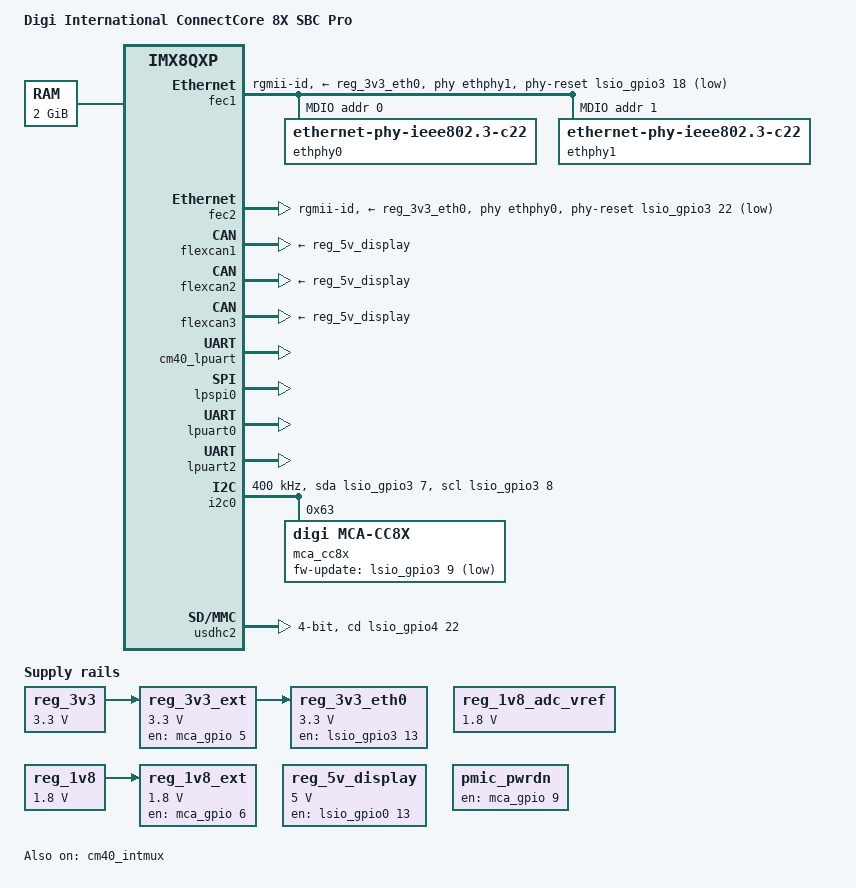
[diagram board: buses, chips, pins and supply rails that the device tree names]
/*
 * Copyright 2018-2020 Digi International Inc.
 *
 * Permission to use, copy, modify, and/or distribute this software for any
 * purpose with or without fee is hereby granted, provided that the above
 * copyright notice and this permission notice appear in all copies.
 * THE SOFTWARE IS PROVIDED "AS IS" AND THE AUTHOR DISCLAIMS ALL WARRANTIES
 * WITH REGARD TO THIS SOFTWARE INCLUDING ALL IMPLIED WARRANTIES OF
 * MERCHANTABILITY AND FITNESS. IN NO EVENT SHALL THE AUTHOR BE LIABLE FOR
 * ANY SPECIAL, DIRECT, INDIRECT, OR CONSEQUENTIAL DAMAGES OR ANY DAMAGES
 * WHATSOEVER RESULTING FROM LOSS OF USE, DATA OR PROFITS, WHETHER IN AN
 * ACTION OF CONTRACT, NEGLIGENCE OR OTHER TORTIOUS ACTION, ARISING OUT OF
 * OR IN CONNECTION WITH THE USE OR PERFORMANCE OF THIS SOFTWARE.
 */

/dts-v1/;

/* i.MX8QXP CPU */
#include "../freescale/imx8qxp.dtsi"
/* Digi ConnectCore 8X */
//#include "ccimx8x.dtsi"
/* Digi ConnectCore 8X SBC Pro */
//#include "ccimx8x-sbc-pro.dtsi"

/ {
	model = "Digi International ConnectCore 8X SBC Pro";
	compatible = "digi,ccimx8x-sbc-pro", "digi,ccimx8x", "fsl,imx8qxp";
	digi,machine,name = "ccimx8x-sbc-pro-can";

	chosen {
		stdout-path = &lpuart2;
	};

        memory@80000000 {
                device_type = "memory";
                reg = <0x00000000 0x80000000 0 0x80000000>;
        };

        reserved-memory {
                vdev0vring0: vdev0vring0@90000000 {
                        compatible = "shared-dma-pool";
                        reg = <0 0x90000000 0 0x8000>;
                        no-map;
                };

                vdev0vring1: vdev0vring1@90008000 {
                        compatible = "shared-dma-pool";
                        reg = <0 0x90008000 0 0x8000>;
                        no-map;
                };

                vdevbuffer: vdevbuffer {
                        compatible = "shared-dma-pool";
                        reg = <0 0x90010000 0 0x40000>;
                        no-map;
                };
        };

        imx8x_cm4: imx8x_cm4@0 {
                compatible = "fsl,imx8qxp-cm4";
                mbox-names = "tx", "rx", "txdb", "rxdb";
                mboxes = <&lsio_mu5 0 1
                          &lsio_mu5 1 1
                          &lsio_mu5 2 1
                          &lsio_mu5 3 1>;
                mub-partition = <3>;
                memory-region = <&vdev0vring0>, <&vdev0vring1>, <&vdevbuffer>;
                core-index = <0>;
                core-id = <IMX_SC_R_M4_0_PID0>;
                power-domains = <&pd IMX_SC_R_M4_0_PID0>,
                                <&pd IMX_SC_R_M4_0_MU_1A>;
                status = "okay";
        };

	regulators {
		compatible = "simple-bus";
		#address-cells = <1>;
		#size-cells = <0>;

		reg_3v3: regulator-som@1 {
			compatible = "regulator-fixed";
			reg = <1>;
			regulator-name = "3v3";
			regulator-min-microvolt = <3300000>;
			regulator-max-microvolt = <3300000>;
		};

		reg_1v8_adc_vref: regulator-som@2 {
			compatible = "regulator-fixed";
			reg = <2>;
			regulator-name = "1v8_adc_vref";
			regulator-min-microvolt = <1800000>;
			regulator-max-microvolt = <1800000>;
		};

		reg_1v8: regulator-som@3 {
			compatible = "regulator-fixed";
			reg = <3>;
			regulator-name = "1v8";
			regulator-min-microvolt = <1800000>;
			regulator-max-microvolt = <1800000>;
		};

		reg_3v3_ext: regulator@1 {
			compatible = "regulator-fixed";
			reg = <1>;
			regulator-name = "3v3_ext";
			regulator-min-microvolt = <3300000>;
			regulator-max-microvolt = <3300000>;
			gpio = <&mca_gpio 5 GPIO_ACTIVE_HIGH>;
			enable-active-high;
			vin-supply = <&reg_3v3>;
			regulator-boot-on;
		};

		reg_1v8_ext: regulator@2 {
			compatible = "regulator-fixed";
			reg = <2>;
			regulator-name = "1v8_ext";
			regulator-min-microvolt = <1800000>;
			regulator-max-microvolt = <1800000>;
			gpio = <&mca_gpio 6 GPIO_ACTIVE_HIGH>;
			enable-active-high;
			vin-supply = <&reg_1v8>;
			regulator-boot-on;
		};

		reg_3v3_eth0: regulator@3 {
			pinctrl-names = "default", "sleep";
			pinctrl-0 = <&pinctrl_reg_3v3_eth0>;
			pinctrl-1 = <&pinctrl_reg_3v3_eth0_sleep>;
			compatible = "regulator-fixed";
			reg = <3>;
			regulator-name = "3v3_eth0";
			regulator-min-microvolt = <3300000>;
			regulator-max-microvolt = <3300000>;
			gpio = <&lsio_gpio3 13 GPIO_ACTIVE_HIGH>;
			enable-active-high;
			startup-delay-us = <10000>;
			vin-supply = <&reg_3v3_ext>;
		};

		reg_5v_display: regulator@4 {
			compatible = "regulator-fixed";
			reg = <4>;
			pinctrl-names = "default", "sleep";
			pinctrl-0 = <&pinctrl_reg_5v_display>;
			pinctrl-1 = <&pinctrl_reg_5v_display_sleep>;
			regulator-name = "5v_display";
			regulator-min-microvolt = <5000000>;
			regulator-max-microvolt = <5000000>;
			gpio = <&lsio_gpio0 13 GPIO_ACTIVE_HIGH>;
			enable-active-high;
		};

		/* Dummy regulator to keep PMIC powered via asserted MCA_IO9 */
		pmic_pwrdn: regulator@9 {
			compatible = "regulator-fixed";
			reg = <9>;
			regulator-name = "pmic-pwrdn";
			gpio = <&mca_gpio 9 GPIO_ACTIVE_HIGH>;
			enable-active-high;
			regulator-always-on;
		};
	};

	pf8x00-sc {
		compatible = "digi,pf8x00-sc";

		vcc_main1_reg: SW1 {
			regulator-min-microvolt = <1000000>;
			regulator-max-microvolt = <1000000>;
			regulator-boot-on;
			regulator-always-on;
			regulator-state-mem {
				regulator-on-in-suspend;
				regulator-suspend-microvolt = <800000>;
			};
		};

		vcc_main2_reg: SW2 {
			regulator-min-microvolt = <1000000>;
			regulator-max-microvolt = <1000000>;
			regulator-boot-on;
			regulator-always-on;
			regulator-state-mem {
				regulator-on-in-suspend;
				regulator-suspend-microvolt = <800000>;
			};
		};

		vcc_gpu_reg: SW3 {
			regulator-min-microvolt = <1100000>;
			regulator-max-microvolt = <1100000>;
			regulator-boot-on;
			regulator-always-on;
			regulator-state-mem {
				regulator-off-in-suspend;
			};
		};

		vcc_cpu_reg: SW4 {
			regulator-min-microvolt = <1100000>;
			regulator-max-microvolt = <1100000>;
			regulator-boot-on;
			regulator-always-on;
			regulator-state-mem {
				regulator-off-in-suspend;
			};
		};

		vcc_ddr_io_reg: SW5 {
			regulator-min-microvolt = <1100000>;
			regulator-max-microvolt = <1100000>;
			regulator-boot-on;
			regulator-always-on;
			regulator-state-mem {
				regulator-on-in-suspend;
				regulator-suspend-microvolt = <1068750>;
			};
		};

		vcc_1v8_reg: SW6 {
			regulator-min-microvolt = <1800000>;
			regulator-max-microvolt = <1800000>;
			regulator-boot-on;
			regulator-always-on;
		};

		vcc_3v3_reg: SW7 {
			regulator-min-microvolt = <3300000>;
			regulator-max-microvolt = <3300000>;
			regulator-boot-on;
			regulator-always-on;
			regulator-state-mem {
				regulator-off-in-suspend;
			};
		};

		vcc_scu_1v8_reg: LDO1 {
			regulator-min-microvolt = <1800000>;
			regulator-max-microvolt = <1800000>;
			regulator-boot-on;
			regulator-always-on;
		};

		vdd_emmc_reg: LDO2 {
			regulator-min-microvolt = <1800000>;
			regulator-max-microvolt = <1800000>;
			regulator-boot-on;
			regulator-always-on;
			regulator-state-mem {
				regulator-off-in-suspend;
			};
		};

		ldo3_reg: LDO3 {
			regulator-min-microvolt = <1500000>;
			regulator-max-microvolt = <5000000>;
		};

		ld4_reg: LDO4 {
			regulator-min-microvolt = <1500000>;
			regulator-max-microvolt = <5000000>;
		};
	};

};

&rpmsg{
	status = "disabled";
};

&fec1 {
	pinctrl-names = "default", "sleep";
	pinctrl-0 = <&pinctrl_fec_mdio>,
		    <&pinctrl_fec1_gpio>,
		    <&pinctrl_fec1>;
	pinctrl-1 = <&pinctrl_fec1_gpio_sleep>;
	phy-mode = "rgmii-id";
	phy-handle = <&ethphy1>;
	digi,mdio-lt-supply = <&reg_1v8_ext>;
	phy-supply = <&reg_3v3_eth0>;
	phy-reset-gpios = <&lsio_gpio3 18 GPIO_ACTIVE_LOW>;
	phy-reset-duration = <1>;
	digi,phy-reset-in-suspend;
	fsl,magic-packet;
	status = "okay";

	mdio {
		#address-cells = <1>;
		#size-cells = <0>;

		ethphy0: ethernet-phy@0 {
			compatible = "ethernet-phy-ieee802.3-c22";
			reg = <0>;
			at803x,eee-disabled;
			at803x,vddio-1p8v;
		};

		ethphy1: ethernet-phy@1 {
			compatible = "ethernet-phy-ieee802.3-c22";
			reg = <1>;
			at803x,eee-disabled;
			at803x,vddio-1p8v;
		};
	};
};

&fec2 {
	pinctrl-names = "default", "sleep";
	pinctrl-0 = <&pinctrl_fec2_gpio>,
		    <&pinctrl_fec2>;
	pinctrl-1 = <&pinctrl_fec2_gpio_sleep>;
	phy-mode = "rgmii-id";
	phy-handle = <&ethphy0>;
	digi,mdio-lt-supply = <&reg_1v8_ext>;
	phy-supply = <&reg_3v3_eth0>;
	phy-reset-gpios = <&lsio_gpio3 22 GPIO_ACTIVE_LOW>;
	phy-reset-duration = <1>;
	digi,phy-reset-in-suspend;
	fsl,magic-packet;
	status = "okay";
};

/*
 * CAN0
 * Conflicts with LPUART0 RTS/CTS lines.
 * Before enabling the port you need to configure
 * lpuart0 node as 2 wires.
 */
&flexcan1 {
	pinctrl-names = "default";
	pinctrl-0 = <&pinctrl_flexcan1>;
	xceiver-supply = <&reg_5v_display>;
	status = "okay";
};

/* CAN1 on expansion header */
&flexcan2 {
	pinctrl-names = "default";
	pinctrl-0 = <&pinctrl_flexcan2>;
	xceiver-supply = <&reg_5v_display>;
	stby-gpios = <&lsio_gpio1 0 GPIO_ACTIVE_HIGH>;
	status = "okay";
};

/*
 * CAN2 on expansion header.
 * Conflicts with LPUART3 RX/TX lines.
 * Requires signal CAN/RS485# (GPIO3_IO23) to be driven high
 */
&flexcan3 {
	pinctrl-names = "default";
	pinctrl-0 = <&pinctrl_flexcan3>,
		    <&pinctrl_flexcan3_lpuart3_gpios>;
	xceiver-supply = <&reg_5v_display>;
	stby-gpios = <&lsio_gpio1 2 GPIO_ACTIVE_HIGH>;
	pinctrl-assert-gpios = <&lsio_gpio3 23 GPIO_ACTIVE_HIGH>;
	status = "okay";
};

&cm40_intmux {
	status = "okay";
};

&cm40_lpuart {
        pinctrl-names = "default";
        pinctrl-0 = <&pinctrl_cm40_lpuart>;
        status = "okay";
};

/* LPSPI0 on expansion header */
&lpspi0 {
	#address-cells = <1>;
	#size-cells = <0>;
	pinctrl-names = "default";
	pinctrl-0 = <&pinctrl_lpspi0>;
	status = "okay";
};

/* LPUART0 on expansion header */
&lpuart0 {
	pinctrl-names = "default";
	pinctrl-0 = <&pinctrl_lpuart0_2wires>;
	status = "okay";
};

/* Console */
&lpuart2 {
	pinctrl-names = "default";
	pinctrl-0 = <&pinctrl_lpuart2>;
	status = "okay";
};

/*
 * LPUART3 on expansion header.
 * Conflicts with CAN2.
 */
&lpuart3 {
	pinctrl-names = "default";
	pinctrl-0 = <&pinctrl_lpuart3>,
		    <&pinctrl_flexcan3_lpuart3_gpios>;
	pinctrl-assert-gpios = <&lsio_gpio3 23 GPIO_ACTIVE_LOW>;
	/* Enable RS485 mode */
	linux,rs485-enabled-at-boot-time;
	digi,rts-gpio = <&lsio_gpio3 24 GPIO_ACTIVE_HIGH>;
	status = "disabled";
};


/* I2C0 connected to MCA and crypto chip */
&i2c0 {
	#address-cells = <1>;
	#size-cells = <0>;
	clock-frequency = <400000>;
	pinctrl-names = "default", "gpio";
	digi,hold-time-ns = <8000>;
	digi,buffer-time-us = <35>;
	pinctrl-0 = <&pinctrl_lpi2c0>;
	pinctrl-1 = <&pinctrl_lpi2c0_gpio>;
	scl-gpios = <&lsio_gpio3 8 GPIO_ACTIVE_HIGH>;
	sda-gpios = <&lsio_gpio3 7 GPIO_ACTIVE_HIGH>;
	status = "okay";

	mca_cc8x: mca@63 {
		compatible = "digi,mca-cc8x";
		reg = <0x63>;
		interrupt-parent = <&gic>;
		interrupts = <GIC_SPI 177 IRQ_TYPE_LEVEL_HIGH>;
		interrupt-controller;
		#interrupt-cells = <2>;
		fw-update-gpio = <&lsio_gpio3 9 GPIO_ACTIVE_LOW>;
		pinctrl-names = "default";
		pinctrl-0 = <&pinctrl_mca_cc8x>;

		mca_adc: adc {
			compatible = "digi,mca-cc8x-adc";
			digi,adc-vref = <3000000>;
		};

		mca_gpio: gpio {
			compatible = "digi,mca-cc8x-gpio";
			gpio-controller;
			#gpio-cells = <2>;

			interrupt-parent = <&mca_cc8x>;
			interrupt-controller;
			#interrupt-cells = <2>;

			/* Disable all mca GPIOs as power off wake up sources */
			pwroff-wakeup-capable-ios = <>;
		};

		pwrkey {
			compatible = "digi,mca-cc8x-pwrkey";
			digi,key-power;
			digi,key-power-up;
			digi,key-sleep;
			digi,debounce-ms = <100>;
			digi,pwroff-delay-sec = <6>;
			digi,pwroff-guard-sec = <30>;
		};

		rtc {
			compatible = "digi,mca-cc8x-rtc";
		};

		wdt {
			compatible = "digi,mca-cc8x-wdt";
			digi,full-reset;
		};

		pwms {
			compatible = "digi,mca-pwm";
			#address-cells = <1>;
			#size-cells = <0>;

			mca_pwm0: pwm@0 {
				reg = <0>;
				pwm-channels = <6>;
				#pwm-cells = <3>;
			};

			mca_pwm1: pwm@1 {
				reg = <1>;
				pwm-channels = <2>;
				#pwm-cells = <3>;
			};

			mca_pwm2: pwm@2 {
				reg = <2>;
				pwm-channels = <2>;
				#pwm-cells = <3>;
			};
		};

		mca_tamper: tamper {
			compatible = "digi,mca-cc8x-tamper";
		};

		mca_uart: uart {
			compatible = "digi,mca-cc8x-uart";
			#address-cells = <1>;
			#size-cells = <0>;
			status = "disabled";

			mca_uart0: serial@0x900 {
				reg = <0x900>;
				index = <0>;
				status = "disabled";
			};

			mca_uart1: serial@0x920 {
				reg = <0x920>;
				index = <1>;
				status = "disabled";
			};

			mca_uart2: serial@0x940 {
				reg = <0x940>;
				index = <2>;
				status = "disabled";
			};
		};

		mca_keypad: keypad {
			compatible = "digi,mca-keypad";
			status = "disabled";
		};

		mca_led: led {
			compatible = "digi,mca-led";
			#address-cells = <1>;
			#size-cells = <0>;
			status = "okay";

			led@0 {
				reg = <0>;
				label = "power:green";
				io = <13>;
				linux,default-trigger = "default-on";
				retain-state-suspended;
			};
		};
	};
};

/* Micro SD card */
&usdhc2 {
	pinctrl-names = "default", "state_100mhz", "state_200mhz";
	pinctrl-0 = <&pinctrl_usdhc2>, <&pinctrl_usdhc2_gpio>;
	pinctrl-1 = <&pinctrl_usdhc2_100mhz>, <&pinctrl_usdhc2_gpio>;
	pinctrl-2 = <&pinctrl_usdhc2_200mhz>, <&pinctrl_usdhc2_gpio>;
	bus-width = <4>;
	no-1-8-v;
	cd-gpios = <&lsio_gpio4 22 GPIO_ACTIVE_HIGH>;
	status = "okay";
};

/* IOMUX */
&iomuxc {
	pinctrl-names = "default";
	pinctrl-0 = <&pinctrl_expansion>;

	/* Expansion Connector */
	pinctrl_expansion: expansiongrp {
		fsl,pins = <
			/*
			 * Comment the pads you wish to use on any
			 * device driver, and uncomment the ones you
			 * want to use as GPIO (requires disabling the
			 * driver that manages them).
			 */
			/* GPIO4_20 */
			IMX8QXP_USDHC1_VSELECT_LSIO_GPIO4_IO20		0x06000020
			/* GPIO4_21 */
			IMX8QXP_USDHC1_WP_LSIO_GPIO4_IO21			0x06000020
			/* SPI0_IRQ_N */
			IMX8QXP_SPI2_SDO_LSIO_GPIO1_IO01			0x06000020
			/* EXP_I2C_IRQ_N */
			IMX8QXP_QSPI0A_SS1_B_LSIO_GPIO3_IO15		0x06000020
			/* EXP_I2C_GPIO */
			IMX8QXP_QSPI0A_SS0_B_LSIO_GPIO3_IO14		0x06000020
			/* GPIO4_19 */
			IMX8QXP_USDHC1_RESET_B_LSIO_GPIO4_IO19		0x06000020
			/* GPIO0_12 */
			IMX8QXP_SPDIF0_EXT_CLK_LSIO_GPIO0_IO12		0x06000020
			/* GPIO5_09 */
			IMX8QXP_ENET0_REFCLK_125M_25M_LSIO_GPIO5_IO09	0x06000020

			/* Remove the pads you wish to use as ADCs */
			/* ADC_IN0 */
	//		IMX8QXP_ADC_IN0_LSIO_GPIO1_IO10			0x06000020
			/* ADC_IN1 */
			IMX8QXP_ADC_IN1_LSIO_GPIO1_IO09			0x06000020
			/* M40_UART_RX */
			IMX8QXP_ADC_IN2_LSIO_GPIO1_IO12			0x06000020
			/* M40_UART_TX */
			IMX8QXP_ADC_IN3_LSIO_GPIO1_IO11			0x06000020
			/* ADC_IN4 */
			IMX8QXP_ADC_IN4_LSIO_GPIO1_IO14			0x06000020
			/* ADC_IN5 */
			IMX8QXP_ADC_IN5_LSIO_GPIO1_IO13			0x06000020
		>;
	};

	/* Uncomment the pads you wish to use as ADCs */
	pinctrl_adc0: adc0grp {
		fsl,pins = <
			/* ADC_IN0 */
			IMX8QXP_ADC_IN0_ADMA_ADC_IN0		0xc0000060
	//		/* ADC_IN1 */
	//		IMX8QXP_ADC_IN1_ADMA_ADC_IN1		0xc0000060
	//		/* M40_UART_RX */
	//		IMX8QXP_ADC_IN2_ADMA_ADC_IN2		0xc0000060
	//		/* M40_UART_TX */
	//		IMX8QXP_ADC_IN3_ADMA_ADC_IN3		0xc0000060
	//		/* ADC_IN4 */
	//		IMX8QXP_ADC_IN4_ADMA_ADC_IN4		0xc0000060
	//		/* ADC_IN5 */
	//		IMX8QXP_ADC_IN5_ADMA_ADC_IN5		0xc0000060
		>;
	};

	pinctrl_lpspi0: lpspi0grp {
		fsl,pins = <
			IMX8QXP_SPI0_SCK_ADMA_SPI0_SCK	0x0600004c
			IMX8QXP_SPI0_SDO_ADMA_SPI0_SDO	0x0600004c
			IMX8QXP_SPI0_SDI_ADMA_SPI0_SDI	0x0600004c
			IMX8QXP_SPI0_CS0_ADMA_SPI0_CS0	0x0600004c
			IMX8QXP_SPI0_CS1_ADMA_SPI0_CS1	0x0600004c
		>;
	};

	pinctrl_lpuart0_2wires: lpuart0grp_2wires {
		fsl,pins = <
			IMX8QXP_UART0_RX_ADMA_UART0_RX		0x06000020
			IMX8QXP_UART0_TX_ADMA_UART0_TX		0x06000020
		>;
	};

	pinctrl_lpuart0_4wires: lpuart0grp_4wires {
		fsl,pins = <
			IMX8QXP_UART0_RX_ADMA_UART0_RX		0x06000020
			IMX8QXP_UART0_TX_ADMA_UART0_TX		0x06000020
			IMX8QXP_FLEXCAN0_RX_ADMA_UART0_RTS_B	0x06000020
			IMX8QXP_FLEXCAN0_TX_ADMA_UART0_CTS_B	0x06000020
		>;
	};

	pinctrl_lpuart2: lpuart2grp {
		fsl,pins = <
			IMX8QXP_UART2_TX_ADMA_UART2_TX	0x06000020
			IMX8QXP_UART2_RX_ADMA_UART2_RX	0x06000020
		>;
	};

	pinctrl_lpuart3: lpuart3grp {
		fsl,pins = <
			IMX8QXP_FLEXCAN2_TX_ADMA_UART3_TX		0x06000020
			IMX8QXP_FLEXCAN2_RX_ADMA_UART3_RX		0x06000020
			/* RS485 RE#/DE line */
			IMX8QXP_QSPI0B_SS1_B_LSIO_GPIO3_IO24	0x06000040
		>;
	};

	pinctrl_flexcan1: flexcan0grp {
		fsl,pins = <
			IMX8QXP_FLEXCAN0_TX_ADMA_FLEXCAN0_TX		0x21
			IMX8QXP_FLEXCAN0_RX_ADMA_FLEXCAN0_RX		0x21
		>;
	};

	pinctrl_flexcan2: flexcan1grp {
		fsl,pins = <
			IMX8QXP_FLEXCAN1_TX_ADMA_FLEXCAN1_TX		0x21
			IMX8QXP_FLEXCAN1_RX_ADMA_FLEXCAN1_RX		0x21
			IMX8QXP_SPI2_CS0_LSIO_GPIO1_IO00                   0x06000020
		>;
	};

	pinctrl_flexcan3: flexcan2grp {
		fsl,pins = <
			IMX8QXP_FLEXCAN2_TX_ADMA_FLEXCAN2_TX		0x21
			IMX8QXP_FLEXCAN2_RX_ADMA_FLEXCAN2_RX		0x21
			IMX8QXP_SPI2_SDI_LSIO_GPIO1_IO02                   0x06000020
		>;
	};

	pinctrl_flexcan3_lpuart3_gpios: flexcan2lpuart3gpios-grp {
		fsl,pins = <
			IMX8QXP_QSPI0B_SS0_B_LSIO_GPIO3_IO23 0x06000060
		>;
	};

	/* FEC shared MDIO bus */
	pinctrl_fec_mdio: fecmdiogrp {
		fsl,pins = <
			IMX8QXP_ENET0_MDC_CONN_ENET0_MDC		0x06000020
			IMX8QXP_ENET0_MDIO_CONN_ENET0_MDIO		0x06000020
		>;
	};

	pinctrl_fec1_gpio: fec1gpiogrp {
		fsl,pins = <
			/* PHY reset */
			IMX8QXP_QSPI0B_DATA0_LSIO_GPIO3_IO18	0x06000021
			/* PHY interrupt */
			IMX8QXP_MIPI_DSI0_GPIO0_01_LSIO_GPIO1_IO28	0x06000021
		>;
	};

	pinctrl_fec1_gpio_sleep: fec1gpiosleepgrp {
		fsl,pins = <
			/* PHY reset */
			IMX8QXP_QSPI0B_DATA0_LSIO_GPIO3_IO18	0x06000041
		>;
	};

	pinctrl_fec1: fec1grp {
		fsl,pins = <
			/*
			 * The SCFW of B0 defaults ENET0 domains to 2.5V:
			 * - VDD_ENET0_1P8_2P5_3P3
			 * - VDD_ENET0_VSELECT_1P8_2P5_3P3
			 * Turn the domains back to 1.8/3.3V detector
			 */
			IMX8QXP_COMP_CTL_GPIO_1V8_3V3_ENET_ENETB0_PAD	0x000014a0
			IMX8QXP_COMP_CTL_GPIO_1V8_3V3_ENET_ENETB1_PAD	0x000014a0

			IMX8QXP_ENET0_RGMII_TX_CTL_CONN_ENET0_RGMII_TX_CTL	0x00000061
			IMX8QXP_ENET0_RGMII_TXC_CONN_ENET0_RGMII_TXC	0x00000061
			IMX8QXP_ENET0_RGMII_TXD0_CONN_ENET0_RGMII_TXD0	0x00000061
			IMX8QXP_ENET0_RGMII_TXD1_CONN_ENET0_RGMII_TXD1	0x00000061
			IMX8QXP_ENET0_RGMII_TXD2_CONN_ENET0_RGMII_TXD2	0x00000061
			IMX8QXP_ENET0_RGMII_TXD3_CONN_ENET0_RGMII_TXD3	0x00000061
			IMX8QXP_ENET0_RGMII_RXC_CONN_ENET0_RGMII_RXC	0x00000061
			IMX8QXP_ENET0_RGMII_RX_CTL_CONN_ENET0_RGMII_RX_CTL	0x00000061
			IMX8QXP_ENET0_RGMII_RXD0_CONN_ENET0_RGMII_RXD0	0x00000061
			IMX8QXP_ENET0_RGMII_RXD1_CONN_ENET0_RGMII_RXD1	0x00000061
			IMX8QXP_ENET0_RGMII_RXD2_CONN_ENET0_RGMII_RXD2	0x00000061
			IMX8QXP_ENET0_RGMII_RXD3_CONN_ENET0_RGMII_RXD3	0x00000061
		>;
	};

	pinctrl_fec2_gpio: fec2gpiogrp {
		fsl,pins = <
			/* PHY reset */
			IMX8QXP_QSPI0B_DQS_LSIO_GPIO3_IO22		0x06000021
			/* PHY interrupt */
			IMX8QXP_MIPI_DSI1_GPIO0_01_LSIO_GPIO2_IO00	0x06000021
		>;
	};

	pinctrl_fec2_gpio_sleep: fec2gpiosleepgrp {
		fsl,pins = <
			/* PHY reset */
			IMX8QXP_QSPI0B_DQS_LSIO_GPIO3_IO22		0x06000041
		>;
	};

	pinctrl_fec2: fec2grp {
		fsl,pins = <
			/*
			 * The SCFW of B0 defaults ENET1 domain to 2.5V:
			 * - VDD_ESAI_SPDIF_1P8_2P5_3P3
			 * Turn the domain back to 1.8/3.3V detector
			 */
			IMX8QXP_COMP_CTL_GPIO_1V8_3V3_GPIORHB_PAD		0x000514a0

			IMX8QXP_ESAI0_SCKR_CONN_ENET1_RGMII_TX_CTL		0x00000060
			IMX8QXP_ESAI0_FSR_CONN_ENET1_RGMII_TXC		0x00000060
			IMX8QXP_ESAI0_TX4_RX1_CONN_ENET1_RGMII_TXD0	0x00000060
			IMX8QXP_ESAI0_TX5_RX0_CONN_ENET1_RGMII_TXD1	0x00000060
			IMX8QXP_ESAI0_FST_CONN_ENET1_RGMII_TXD2		0x00000060
			IMX8QXP_ESAI0_SCKT_CONN_ENET1_RGMII_TXD3		0x00000060
			IMX8QXP_ESAI0_TX0_CONN_ENET1_RGMII_RXC		0x00000060
			IMX8QXP_SPDIF0_TX_CONN_ENET1_RGMII_RX_CTL		0x00000060
			IMX8QXP_SPDIF0_RX_CONN_ENET1_RGMII_RXD0		0x00000060
			IMX8QXP_ESAI0_TX3_RX2_CONN_ENET1_RGMII_RXD1	0x00000060
			IMX8QXP_ESAI0_TX2_RX3_CONN_ENET1_RGMII_RXD2	0x00000060
			IMX8QXP_ESAI0_TX1_CONN_ENET1_RGMII_RXD3		0x00000060
		>;
	};

	pinctrl_usdhc2_gpio: usdhc2gpiogrp {
		fsl,pins = <
			/* Card detect */
			IMX8QXP_USDHC1_CD_B_LSIO_GPIO4_IO22	0x06000021
		>;
	};

	pinctrl_usdhc2: usdhc2grp {
		fsl,pins = <
			IMX8QXP_USDHC1_CLK_CONN_USDHC1_CLK		0x06000041
			IMX8QXP_USDHC1_CMD_CONN_USDHC1_CMD		0x00000021
			IMX8QXP_USDHC1_DATA0_CONN_USDHC1_DATA0	0x00000021
			IMX8QXP_USDHC1_DATA1_CONN_USDHC1_DATA1	0x00000021
			IMX8QXP_USDHC1_DATA2_CONN_USDHC1_DATA2	0x00000021
			IMX8QXP_USDHC1_DATA3_CONN_USDHC1_DATA3	0x00000021
		>;
	};

	pinctrl_usdhc2_100mhz: usdhc2grp100mhz {
		fsl,pins = <
			IMX8QXP_USDHC1_CLK_CONN_USDHC1_CLK		0x06000041
			IMX8QXP_USDHC1_CMD_CONN_USDHC1_CMD		0x00000021
			IMX8QXP_USDHC1_DATA0_CONN_USDHC1_DATA0	0x00000021
			IMX8QXP_USDHC1_DATA1_CONN_USDHC1_DATA1	0x00000021
			IMX8QXP_USDHC1_DATA2_CONN_USDHC1_DATA2	0x00000021
			IMX8QXP_USDHC1_DATA3_CONN_USDHC1_DATA3	0x00000021
		>;
	};

	pinctrl_usdhc2_200mhz: usdhc2grp200mhz {
		fsl,pins = <
			IMX8QXP_USDHC1_CLK_CONN_USDHC1_CLK		0x06000041
			IMX8QXP_USDHC1_CMD_CONN_USDHC1_CMD		0x00000021
			IMX8QXP_USDHC1_DATA0_CONN_USDHC1_DATA0	0x00000021
			IMX8QXP_USDHC1_DATA1_CONN_USDHC1_DATA1	0x00000021
			IMX8QXP_USDHC1_DATA2_CONN_USDHC1_DATA2	0x00000021
			IMX8QXP_USDHC1_DATA3_CONN_USDHC1_DATA3	0x00000021
		>;
	};

	/* Ethernet PHYs regulator */
	pinctrl_reg_3v3_eth0: pinctrl_reg_3v3_eth0grp {
		fsl,pins = <
			/* PHY power */
			IMX8QXP_QSPI0A_DQS_LSIO_GPIO3_IO13		0x06000021
		>;
	};

	pinctrl_reg_3v3_eth0_sleep: pinctrl_reg_3v3_eth0grp_sleep {
		fsl,pins = <
			/* PHY power (lp_config=LATCH) */
			IMX8QXP_QSPI0A_DQS_LSIO_GPIO3_IO13		0x07800021
		>;
	};

	pinctrl_reg_5v_display: reg_5v_display_grp {
		fsl,pins = <
			/* 5V regulator power enable */
			IMX8QXP_SPI3_SCK_LSIO_GPIO0_IO13		0x06000020
		>;
	};

	pinctrl_reg_5v_display_sleep: reg_5v_display_grp_sleep {
		fsl,pins = <
			/* 5V regulator power enable, latch */
			IMX8QXP_SPI3_SCK_LSIO_GPIO0_IO13		0x07800020
		>;
	};

	/* Internal I2C (MCA, Crypto chip) */
	pinctrl_lpi2c0: lpi2c0grp {
		fsl,pins = <
			IMX8QXP_MIPI_CSI0_GPIO0_00_ADMA_I2C0_SCL	0xc6000066
			IMX8QXP_MIPI_CSI0_GPIO0_01_ADMA_I2C0_SDA	0xc6000066
		>;
	};

	pinctrl_lpi2c0_gpio: lpi2c0gpiogrp {
		fsl,pins = <
			IMX8QXP_MIPI_CSI0_GPIO0_00_LSIO_GPIO3_IO08	0xc6000066
			IMX8QXP_MIPI_CSI0_GPIO0_01_LSIO_GPIO3_IO07	0xc6000066
		>;
	};

	pinctrl_mca_cc8x: mcagrp {
		fsl,pins = <
			IMX8QXP_QSPI0A_DATA0_LSIO_GPIO3_IO09	0x06000021
		>;
	};

	pinctrl_cm40_lpuart: cm40_lpuartgrp {
		fsl,pins = <
			IMX8QXP_ADC_IN2_M40_UART0_RX            0x06000020
			IMX8QXP_ADC_IN3_M40_UART0_TX            0x06000020
		>;
	};
};
